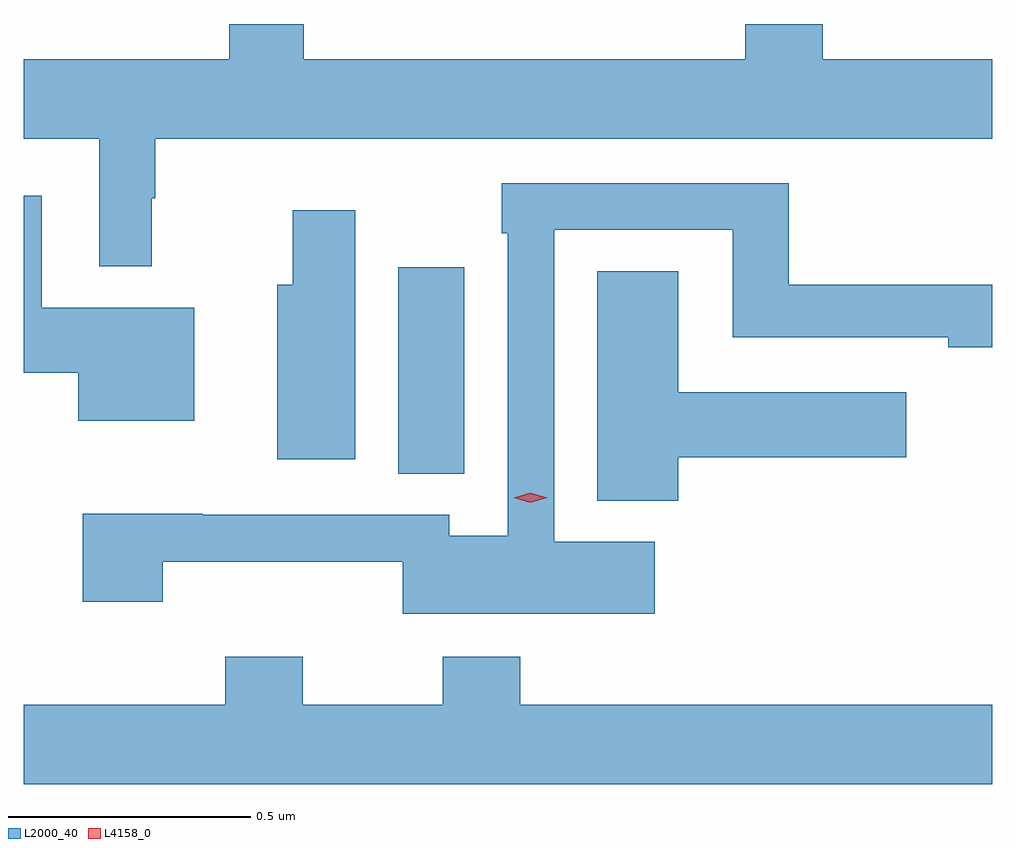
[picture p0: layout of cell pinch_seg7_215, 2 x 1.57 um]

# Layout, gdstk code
import gdstk
lib = gdstk.Library(unit=1e-6, precision=1e-09)
def R(c, l, rs):  # rectangles x0, y0, x1, y1
    for r in rs: c.add(gdstk.rectangle(r[:2], r[2:], *l))
def P(c, l, *ps):  # polygons
    for p in ps: c.add(gdstk.Polygon(p, *l))
L2000_40 = (2000, 40)
L4158_0 = (4158, 0)

pinch_seg7_215 = lib.new_cell('pinch_seg7_215')
R(pinch_seg7_215, L2000_40, [(748.766,1065.193,748.903,1065.619)])
P(pinch_seg7_215, L2000_40, [(748.258,1065.761),(748.265,1065.761),(748.265,1065.884),(749.993,1065.884),(749.993,1066.048),(749.643,1066.048),(749.643,1066.121),(749.483,1066.121),(749.483,1066.048),(748.571,1066.048),(748.571,1066.121),(748.418,1066.121),(748.418,1066.048),(747.993,1066.048),(747.993,1065.884),(748.149,1065.884),(748.149,1065.621),(748.258,1065.621)],
  [(749.296,1065.052),(749.088,1065.052),(749.088,1065.696),(749.457,1065.696),(749.457,1065.474),(749.902,1065.474),(749.902,1065.454),(749.993,1065.454),(749.993,1065.583),(749.573,1065.583),(749.573,1065.792),(748.98,1065.792),(748.98,1065.689),(748.992,1065.689),(748.992,1065.064),(748.872,1065.064),(748.872,1065.108),(748.363,1065.108),(748.363,1065.11),(748.115,1065.11),(748.115,1064.928),(748.28,1064.928),(748.28,1065.011),(748.776,1065.011),(748.776,1064.903),(749.296,1064.903)],
  [(748.345,1065.535),(748.03,1065.535),(748.03,1065.766),(747.993,1065.766),(747.993,1065.401),(748.106,1065.401),(748.106,1065.302),(748.345,1065.302)],
  [(748.678,1065.736),(748.549,1065.736),(748.549,1065.583),(748.517,1065.583),(748.517,1065.222),(748.678,1065.222)],
  [(749.344,1065.227),(749.815,1065.227),(749.815,1065.361),(749.344,1065.361),(749.344,1065.611),(749.177,1065.611),(749.177,1065.137),(749.344,1065.137)],
  [(749.993,1064.716),(749.018,1064.716),(749.018,1064.815),(748.858,1064.815),(748.858,1064.716),(748.569,1064.716),(748.569,1064.815),(748.409,1064.815),(748.409,1064.716),(747.993,1064.716),(747.993,1064.552),(749.993,1064.552)])
P(pinch_seg7_215, L4158_0, [(749.039,1065.133),(749.005,1065.143),(749.004,1065.143),(749.005,1065.143),(749.039,1065.153),(749.074,1065.143),(749.074,1065.143),(749.074,1065.143)])

lib.write_gds('pinch_seg7_215.gds')
